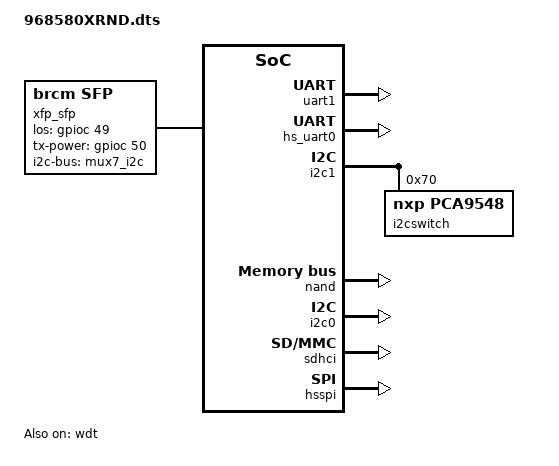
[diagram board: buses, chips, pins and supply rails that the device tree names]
#include "inc/68580.dtsi"

/ {
    memory_controller {
        memcfg = <(BP_DDR_SPEED_1067_14_14_14 | \
                   BP_DDR_TOTAL_SIZE_512MB    | \
                   BP_DDR_DEVICE_WIDTH_16     | \
                   BP_DDR_TOTAL_WIDTH_32BIT)>;
    };
};

/ {
    xfp_sfp: xfp_sfp {
        pinctrl-names = "tx-sd";
        pinctrl-0 = <&a_rogue_onu_in_pin_56>;
        compatible = "brcm,sfp";
        i2c-bus = <&mux7_i2c>;
        los-gpio = <&gpioc 49 GPIO_ACTIVE_HIGH>;
        mod-def0 = <&bca_extintr 61 BCA_GPIO_ACTIVE_HIGH (BCA_EXTINTR_TYPE_BOTH_EDGE | BCA_EXTINTR_TYPE_SENSE_EDGE)>;
        tx-power-gpio = <&gpioc 50 GPIO_ACTIVE_HIGH>;
    };

    wan_serdes {
            compatible = "brcm,pon-drv";
            trx = <&xfp_sfp>;
            pon-led = <&led8>;
            alarm-led = <&led5>;
    };
};

&serdes_lport {
        lportphy_opt4:opt4 {
                pinctrl-names = "default";
                pinctrl-0 = <&sfp_dserdes0_sig_det_1_pin_58 &sfp_dserdes0_mod_def_1_pin_25>;
                tx-disable = <&gpioc 52 GPIO_ACTIVE_HIGH>;
                status = "okay";
        };
};

&uart1 {
    pinctrl-0 = <&a_uart1_sin_pin_27 &a_uart1_sout_pin_28>;
    status = "okay";
};

&hs_uart0 {
    pinctrl-0 = <&b_uart2_sin_pin_16 &b_uart2_sout_pin_17 &b_uart2_cts_pin_18 &b_uart2_rts_pin_19>;
    status = "okay";
};

&mdio_lport {
        lportphy1:1 {
                status = "okay";
        };

        lportphy2:2 {
                status = "okay";
        };
};

&switch0 {
        ports {
                port0@0 {
                        status = "okay";
                        network-leds = <&led0 &led1>;
                };

                port1@1 {
                        network-leds = <&led3 &led4>;
                        status = "okay";
                };

                port_xfi4@4 {
                        phy-handle = <&lportphy_opt4>;
                        oam-idx = <2>;
                        network-leds = <&led12 &led13>;
                        status = "okay";
                };
        };
};

&i2c1 {
    i2cswitch {
        compatible = "nxp,pca9548";
        #address-cells = <1>;
        #size-cells = <0>;
        reg = <0x70>;

        mux7_i2c: i2c@7 {
            reg = <0x7>;
        };
    };
};

&led_ctrl {
    pinctrl-names = "default";
    pinctrl-0 = <&b_ser_led_clk_pin_30 &b_ser_led_data_pin_29 &b_ser_led_mask_pin_31>;
    serial-shifters-installed = <2>;

    led0: port_0-led_0-bit_0 {
              active_low;
              status = "okay";
              link = <LED_SPEED_GBE>;
          };
    led1: port_0-led_1-bit_1 {
              active_low;
              status = "okay";
              activity = <LED_SPEED_GBE>;
          };
    led2: sw_led-bit_2 {
              active_low; 
              brightness = <255>;
              flash_rate = <0>;
              status = "okay";
              label = "WAN";
          };
    led3: port_1-led_0-bit_3 {
              active_low;
              status = "okay";
              link = <LED_SPEED_GBE>;
          };
    led4: port_1-led_1-bit_4 {
              active_low;
              status = "okay";
              activity = <LED_SPEED_GBE>;
          };
    led5: sw_led-bit_5 {
              active_low; 
              brightness = <255>;
              flash_rate = <0>;
              status = "okay";
              label = "OpticalLinkFail";
          };
    led6: sw_led-bit_6 {
              active_low;
              brightness = <0>;
              flash_rate = <0>;
              status = "okay";
          };
    led7: sw_led-bit_7 {
              active_low;
              brightness = <0>;
              flash_rate = <0>;
              status = "okay";
          };
    led8: sw_led-bit_8 {
              active_low; 
              brightness = <255>;
              flash_rate = <0>;
              status = "okay";
              label = "PON";
          };
    led9: sw_led-bit_9 {
              active_low;
              brightness = <0>;
              flash_rate = <0>;
              status = "okay";
          };
    led10: sw_led-bit_10 {
              active_low;
              brightness = <0>;
              flash_rate = <0>;
              status = "okay";
          };
    led11: sw_led-bit_11 {
              active_low; 
              brightness = <0>;
              flash_rate = <0>;
              status = "okay";
          };
    led12: sw_led-bit_12 {
              active_low; 
              brightness = <0>;
              flash_rate = <0>;
              status = "okay";
          };
    led13: sw_led-bit_13 {
              active_low; 
              brightness = <0>;
              flash_rate = <0>;
              status = "okay";
          };
    led14: sw_led-bit_14 {
              active_low; 
              brightness = <0>;
              flash_rate = <0>;
              status = "okay";
          };
};

&legacy_leds {
    wan-data-led = <&led2>;
    voip1-ok-led = <&led11>;
    voip2-ok-led = <&led14>;
    usb-led = <&led12>;
    wl-sess-led = <&led13>;
};

&nand {
	status = "okay";
};
&wdt {
	status = "okay";
};
&i2c0 {
    status = "okay";
};
&i2c1 {
    pinctrl-0 = <&i2c_2_scl_pin_23 &i2c_2_sda_pin_24>;
    pinctrl-names = "default";
    status = "okay";
};
&sdhci {
	status = "okay";
};
&hsspi {
	status = "okay";
};
